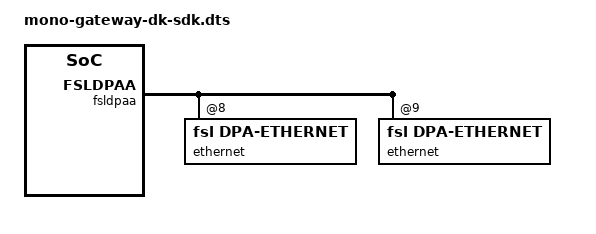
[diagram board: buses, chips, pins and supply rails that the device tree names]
// SPDX-License-Identifier: (GPL-2.0+ OR MIT)
/*
 * Device Tree file for Mono Gateway Development Kit — NXP SDK variant.
 *
 * This DTS overlays the mainline mono-gateway-dk.dts with NXP SDK-specific
 * bindings required by NXP's DPAA1 SDK drivers (sdk_fman, sdk_dpaa, fsl_usdpaa).
 *
 * Key differences from mainline:
 *   - BMan/QMan portals get 'cell-index' properties (required by SDK portal drivers)
 *   - SDK DPAA ethernet bus (fsl,dpaa with fsl,dpa-ethernet nodes)
 *   - FMan offline/host (OH) ports for SDK FMan PCD (policy classification)
 *   - Per-device dma-coherent instead of SoC-level (SDK DMA handling)
 *
 * Copyright 2025 Mono Technologies Inc.
 */

#include "mono-gateway-dk.dts"
#include "qoriq-qman-portals-sdk.dtsi"
#include "qoriq-bman-portals-sdk.dtsi"

/* SDK BMAN/QMAN memory pool descriptors need alloc-ranges for SDK drivers */
&bman_fbpr {
	compatible = "fsl,bman-fbpr";
	alloc-ranges = <0 0 0x10000 0>;
};
&qman_fqd {
	compatible = "fsl,qman-fqd";
	alloc-ranges = <0 0 0x10000 0>;
};
&qman_pfdr {
	compatible = "fsl,qman-pfdr";
	alloc-ranges = <0 0 0x10000 0>;
};

/*
 * SDK requires per-device dma-coherent instead of SoC-level.
 * Remove the SoC-level property, then add it to each device individually.
 */
&soc {
	/delete-property/ dma-coherent;

	/* SDK DPAA ethernet bus — binds NXP SDK fsl_dpa driver */
	#include "qoriq-dpaa-eth.dtsi"
	/* FMan offline/host ports — needed for SDK FMan PCD */
	#include "qoriq-fman3-0-6oh.dtsi"

	/* Delete PCIe IOMMU mappings (SDK doesn't use SMMU) */
	pcie@3400000 {
		/delete-property/ iommu-map;
	};
	pcie@3500000 {
		/delete-property/ iommu-map;
	};
	pcie@3600000 {
		/delete-property/ iommu-map;
	};

/* No SMMU on this board */
/delete-node/ iommu@9000000;

};

/*
 * SDK DPAA ethernet port configuration for Mono Gateway:
 *   ethernet@0 = enet0 (MAC1 - disabled, no PHY)
 *   ethernet@1 = enet1 (MAC2 - rightmost 1G, sgmii_phy2) ← eth2
 *   ethernet@2 = enet2 (MAC3 - disabled, no PHY)
 *   ethernet@3 = enet3 (MAC4 - disabled, no PHY)
 *   ethernet@4 = enet4 (MAC5 - leftmost 1G, sgmii_phy0) ← eth0
 *   ethernet@5 = enet5 (MAC6 - center 1G, sgmii_phy1) ← eth1
 *   ethernet@8 = enet6 (MAC9 - 10G left SFP) ← eth3
 *   (MAC10 added below as ethernet@9)
 */
&fsldpaa {
/* Disable unused MACs */
ethernet@0 {
status = "disabled";
};
ethernet@2 {
status = "disabled";
};
ethernet@3 {
status = "disabled";
};

/*
 * ethernet@8 (MAC9, 10G left SFP) — fix merged DTS conflict.
 * The mainline mono-gateway-dk.dts adds this node with
 * compatible = "fsl,dpa-ethernet-init" and static FQIDs (0x40c-0x40f).
 * qoriq-dpaa-eth.dtsi adds the same node with "fsl,dpa-ethernet".
 * DTC merges them: the node ends up with BOTH compatible strings
 * (last wins) AND the static fsl,qman-frame-queues-* properties.
 * The SDK dpa_fq_probe_mac() sees static FQIDs → allocates only
 * RX_DEFAULT, RX_ERROR, TX_CONF_MQ, TX_ERROR, TX_CONFIRM (8 FQs,
 * zero TX) instead of the full dynamic set (44 FQs with PCD + TX).
 * Fix: force SDK compatible and delete the static FQ properties.
 */
ethernet@8 {
compatible = "fsl,dpa-ethernet";
/delete-property/ fsl,qman-frame-queues-rx;
/delete-property/ fsl,qman-frame-queues-tx;
/delete-property/ fsl,bman-buffer-pools;
};

/* MAC10 — 10G right SFP. Same merge conflict fix + add node. */
ethernet@9 {
compatible = "fsl,dpa-ethernet";
fsl,fman-mac = <&enet7>;
dma-coherent;
/delete-property/ fsl,qman-frame-queues-rx;
/delete-property/ fsl,qman-frame-queues-tx;
/delete-property/ fsl,bman-buffer-pools;
};
};

/*
 * FMan: SDK driver needs compatible = "fsl,fman", "simple-bus"
 * Also remove 'managed' from 10G ports — SDK FMan handles link itself
 *
 * CRITICAL: Override port compatible strings from mainline format
 * ("fsl,fman-v3-port-rx/tx") to SDK format ("fsl,fman-port-{1g,10g}-{rx,tx}").
 * The SDK fm_port_driver match table does NOT match mainline v3 compat strings.
 * Without this, fm_port_probe() never runs, dev_set_drvdata() is never called,
 * and all fsl_mac probes fail with "dev_get_drvdata(port@XXXXX) failed" error -22.
 */
&fman0 {
compatible = "fsl,fman", "simple-bus";

/* 1G RX ports — mainline "fsl,fman-v3-port-rx" → SDK "fsl,fman-port-1g-rx" */
port@88000 { compatible = "fsl,fman-port-1g-rx"; };
port@89000 { compatible = "fsl,fman-port-1g-rx"; };
port@8a000 { compatible = "fsl,fman-port-1g-rx"; };
port@8b000 { compatible = "fsl,fman-port-1g-rx"; };
port@8c000 { compatible = "fsl,fman-port-1g-rx"; };
port@8d000 { compatible = "fsl,fman-port-1g-rx"; };

/* 10G RX ports — mainline "fsl,fman-v3-port-rx" → SDK "fsl,fman-port-10g-rx" */
port@90000 { compatible = "fsl,fman-port-10g-rx"; };
port@91000 { compatible = "fsl,fman-port-10g-rx"; };

/* 1G TX ports — mainline "fsl,fman-v3-port-tx" → SDK "fsl,fman-port-1g-tx" */
port@a8000 { compatible = "fsl,fman-port-1g-tx"; };
port@a9000 { compatible = "fsl,fman-port-1g-tx"; };
port@aa000 { compatible = "fsl,fman-port-1g-tx"; };
port@ab000 { compatible = "fsl,fman-port-1g-tx"; };
port@ac000 { compatible = "fsl,fman-port-1g-tx"; };
port@ad000 { compatible = "fsl,fman-port-1g-tx"; };

/* 10G TX ports — mainline "fsl,fman-v3-port-tx" → SDK "fsl,fman-port-10g-tx" */
port@b0000 { compatible = "fsl,fman-port-10g-tx"; };
port@b1000 { compatible = "fsl,fman-port-10g-tx"; };

/* 10GEC1 — SDK fsl_mac has no phylink/SFP support.
 * Delete mainline properties and add fixed-link so mac.c's
 * of_phy_register_fixed_link() succeeds. Without fixed-link,
 * mac_probe() hits "Wrong PHY information" → probe fails.
 * Kernel patch 4004 maps speed 10000 → SWMII_SPEED_1000
 * so swphy_decode_speed() in fixed_phy.c doesn't reject it.
 */
ethernet@f0000 {
/delete-property/ managed;
/delete-property/ sfp;
phy-connection-type = "xgmii";
fixed-link {
	speed = <10000>;
	full-duplex;
};
};

/* 10GEC2 — same treatment */
ethernet@f2000 {
/delete-property/ managed;
/delete-property/ sfp;
phy-connection-type = "xgmii";
fixed-link {
	speed = <10000>;
	full-duplex;
};
};
};

/*
 * Per-device dma-coherent for all SoC peripherals.
 * This replaces the deleted SoC-level '/delete-property/ dma-coherent'.
 */
&clockgen { dma-coherent; };
&scfg { dma-coherent; };
&crypto { dma-coherent; };
&dcfg { dma-coherent; };
&ifc { dma-coherent; };
&qspi { dma-coherent; };
&esdhc { dma-coherent; };
&ddr { dma-coherent; };
&tmu { dma-coherent; };
&qman { dma-coherent; };
&bman { dma-coherent; };
&bportals { dma-coherent; };
&qportals { dma-coherent; };
&dspi { dma-coherent; };
&i2c0 { dma-coherent; };
&i2c1 { dma-coherent; };
&i2c2 { dma-coherent; };
&i2c3 { dma-coherent; };
&duart0 { dma-coherent; };
&duart1 { dma-coherent; };
&duart2 { dma-coherent; };
&duart3 { dma-coherent; };
&gpio0 { dma-coherent; };
&gpio1 { dma-coherent; };
&gpio2 { dma-coherent; };
&gpio3 { dma-coherent; };
&lpuart0 { dma-coherent; };
&lpuart1 { dma-coherent; };
&lpuart2 { dma-coherent; };
&lpuart3 { dma-coherent; };
&lpuart4 { dma-coherent; };
&lpuart5 { dma-coherent; };
&ftm_alarm0 { dma-coherent; };
&wdog0 { dma-coherent; };
&edma0 { dma-coherent; };
&sata { dma-coherent; };
&qdma { dma-coherent; };
&msi1 { dma-coherent; };
&msi2 { dma-coherent; };
&msi3 { dma-coherent; };
&fman0 { dma-coherent; };
&ptp_timer0 { dma-coherent; };
&fsldpaa { dma-coherent; };
